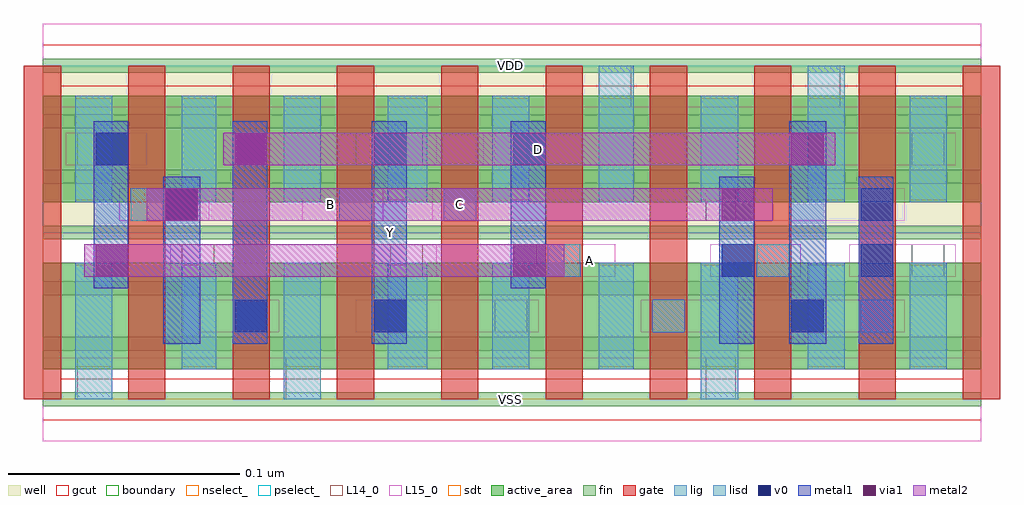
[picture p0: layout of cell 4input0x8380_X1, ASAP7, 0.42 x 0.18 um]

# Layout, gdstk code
import gdstk
lib = gdstk.Library(unit=1e-6, precision=1e-09)
def R(c, l, rs):  # rectangles x0, y0, x1, y1
    for r in rs: c.add(gdstk.rectangle(r[:2], r[2:], *l))
def A(c, l, x, y, w, h, nx, ny, dx, dy):  # array of equal rectangles
    R(c, l, [(x+i*dx, y+j*dy, x+i*dx+w, y+j*dy+h) for i in range(nx) for j in range(ny)])
def P(c, l, *ps):  # polygons
    for p in ps: c.add(gdstk.Polygon(p, *l))
well = (1, 0)
fin = (2, 0)
gate = (7, 0)
gcut = (10, 0)
active_area = (11, 0)
nselect_ = (12, 0)
pselect_ = (13, 0)
L14_0 = (14, 0)
L15_0 = (15, 0)
lig = (16, 0)
lisd = (17, 0)
v0 = (18, 0)
metal1 = (19, 0)
metal2 = (20, 0)
via1 = (21, 0)
sdt = (88, 0)
boundary = (100, 0)

c_4input0x8380_x1 = lib.new_cell('4input0x8380_X1')
R(c_4input0x8380_x1, well, [(0,0.072,0.405,0.144)])
A(c_4input0x8380_x1, fin, 0, -0.003, 0.405, 0.006, 1, 7, 0, 0.024)
A(c_4input0x8380_x1, gate, -0.008, 0, 0.016, 0.144, 10, 1, 0.045, 0)
P(c_4input0x8380_x1, gcut, [(0,-0.009),(0,0),(-0.008,0),(-0.008,0.135),(0.008,0.135),(0.008,0.009),(0.397,0.009),(0.397,0.135),(-0.008,0.135),(-0.008,0.144),(0,0.144),(0,0.153),(0.405,0.153),(0.405,0.144),(0.413,0.144),(0.413,0),(0.405,0),(0.405,-0.009)])
R(c_4input0x8380_x1, active_area, [(0,0.013,0.405,0.059), (0,0.085,0.405,0.131)])
R(c_4input0x8380_x1, nselect_, [(0,0,0.405,0.072)])
R(c_4input0x8380_x1, pselect_, [(0,0.072,0.405,0.144)])
R(c_4input0x8380_x1, L14_0, [(0.015,0,0.03,0.018), (0.105,0,0.12,0.018), (0.286,0,0.299,0.018), (0.083,0.029,0.097,0.043), (0.195,0.029,0.209,0.043), (0.263,0.029,0.277,0.043), (0.353,0.029,0.367,0.043), (0.06,0.053,0.074,0.067), (0.15,0.053,0.164,0.067), (0.218,0.053,0.232,0.067), (0.308,0.053,0.322,0.067), (0.375,0.053,0.389,0.067), (0.038,0.077,0.052,0.091), (0.128,0.077,0.142,0.091), (0.173,0.077,0.187,0.091), (0.286,0.077,0.299,0.091), (0.015,0.101,0.03,0.115), (0.15,0.101,0.164,0.115), (0.195,0.101,0.209,0.115), (0.375,0.101,0.389,0.115), (0.24,0.126,0.254,0.144), (0.33,0.126,0.344,0.144)])
R(c_4input0x8380_x1, L15_0, [(0,-0.018,0.405,0.018), (0.068,0.029,0.102,0.043), (0.135,0.029,0.214,0.043), (0.258,0.029,0.372,0.043), (0.055,0.053,0.17,0.067), (0.213,0.053,0.247,0.067), (0.288,0.053,0.327,0.067), (0.348,0.053,0.394,0.067), (0.033,0.077,0.072,0.091), (0.112,0.077,0.147,0.091), (0.168,0.077,0.372,0.091), (0.01,0.101,0.045,0.115), (0.135,0.101,0.17,0.115), (0.19,0.101,0.394,0.115), (0,0.126,0.405,0.162)])
R(c_4input0x8380_x1, lig, [(0.083,0.029,0.097,0.043), (0.263,0.029,0.277,0.043), (0.353,0.029,0.367,0.043), (0.218,0.053,0.232,0.067), (0.308,0.053,0.322,0.067), (0.038,0.077,0.052,0.091), (0.128,0.077,0.142,0.091), (0.173,0.077,0.187,0.091)])
A(c_4input0x8380_x1, lisd, 0.014, 0.085, 0.016, 0.046, 5, 1, 0.09, 0)
R(c_4input0x8380_x1, lisd, [(0.014,0,0.03,0.059), (0.104,0,0.12,0.059), (0.284,0,0.3,0.059), (0.06,0.013,0.075,0.059), (0.149,0.013,0.166,0.059), (0.194,0.013,0.21,0.059), (0.24,0.013,0.255,0.059), (0.33,0.013,0.346,0.059), (0.374,0.013,0.39,0.059), (0.06,0.085,0.075,0.131), (0.149,0.085,0.166,0.131), (0.24,0.085,0.255,0.144), (0.33,0.085,0.346,0.144)])
R(c_4input0x8380_x1, v0, [(0.083,0.029,0.097,0.043), (0.143,0.029,0.157,0.043), (0.323,0.029,0.337,0.043), (0.293,0.053,0.307,0.067), (0.353,0.053,0.367,0.067), (0.053,0.077,0.067,0.091), (0.353,0.077,0.367,0.091), (0.023,0.101,0.037,0.115), (0.143,0.101,0.157,0.115), (0.203,0.101,0.217,0.115)])
R(c_4input0x8380_x1, metal1, [(0.052,0.024,0.068,0.096), (0.082,0.024,0.097,0.12), (0.142,0.024,0.157,0.12), (0.292,0.024,0.307,0.096), (0.322,0.024,0.338,0.12), (0.352,0.024,0.367,0.096), (0.022,0.048,0.037,0.12), (0.202,0.048,0.217,0.12)])
R(c_4input0x8380_x1, metal2, [(0.018,0.053,0.225,0.067), (0.045,0.077,0.315,0.091), (0.078,0.101,0.342,0.115)])
R(c_4input0x8380_x1, via1, [(0.023,0.053,0.037,0.067), (0.203,0.053,0.217,0.067), (0.053,0.077,0.067,0.091), (0.293,0.077,0.307,0.091), (0.083,0.101,0.097,0.115), (0.323,0.101,0.337,0.115)])
A(c_4input0x8380_x1, sdt, 0.014, 0.014, 0.016, 0.044, 4, 2, 0.09, 0.072)
R(c_4input0x8380_x1, sdt, [(0.06,0.014,0.075,0.058), (0.149,0.014,0.166,0.058), (0.24,0.014,0.255,0.058), (0.33,0.014,0.346,0.058), (0.374,0.014,0.39,0.058), (0.06,0.086,0.075,0.13), (0.149,0.086,0.166,0.13), (0.24,0.086,0.255,0.13), (0.33,0.086,0.346,0.13), (0.374,0.086,0.39,0.13)])
R(c_4input0x8380_x1, boundary, [(0,0,0.405,0.144)])
c_4input0x8380_x1.add(gdstk.Label('B', (0.124,0.084), layer=15, texttype=251))
c_4input0x8380_x1.add(gdstk.Label('VSS', (0.202,0), layer=15, texttype=251))
c_4input0x8380_x1.add(gdstk.Label('VDD', (0.202,0.144), layer=15, texttype=251))
c_4input0x8380_x1.add(gdstk.Label('VSS', (0.202,0), layer=15, texttype=251))
c_4input0x8380_x1.add(gdstk.Label('VDD', (0.202,0.144), layer=15, texttype=251))
c_4input0x8380_x1.add(gdstk.Label('VSS', (0.202,0), layer=15, texttype=251))
c_4input0x8380_x1.add(gdstk.Label('VDD', (0.202,0.144), layer=15, texttype=251))
c_4input0x8380_x1.add(gdstk.Label('A', (0.236,0.06), layer=15, texttype=251))
c_4input0x8380_x1.add(gdstk.Label('VSS', (0.202,0), layer=15, texttype=251))
c_4input0x8380_x1.add(gdstk.Label('VDD', (0.202,0.144), layer=15, texttype=251))
c_4input0x8380_x1.add(gdstk.Label('VSS', (0.202,0), layer=15, texttype=251))
c_4input0x8380_x1.add(gdstk.Label('VDD', (0.202,0.144), layer=15, texttype=251))
c_4input0x8380_x1.add(gdstk.Label('VSS', (0.202,0), layer=3, texttype=251))
c_4input0x8380_x1.add(gdstk.Label('VSS', (0.202,0), layer=3, texttype=251))
c_4input0x8380_x1.add(gdstk.Label('VSS', (0.202,0), layer=3, texttype=251))
c_4input0x8380_x1.add(gdstk.Label('VSS', (0.202,0), layer=3, texttype=251))
c_4input0x8380_x1.add(gdstk.Label('VSS', (0.202,0), layer=3, texttype=251))
c_4input0x8380_x1.add(gdstk.Label('VDD', (0.202,0.144), layer=1, texttype=251))
c_4input0x8380_x1.add(gdstk.Label('VDD', (0.202,0.144), layer=1, texttype=251))
c_4input0x8380_x1.add(gdstk.Label('VDD', (0.202,0.144), layer=1, texttype=251))
c_4input0x8380_x1.add(gdstk.Label('VDD', (0.202,0.144), layer=1, texttype=251))
c_4input0x8380_x1.add(gdstk.Label('VDD', (0.202,0.144), layer=1, texttype=251))
c_4input0x8380_x1.add(gdstk.Label('C', (0.18,0.084), layer=20, texttype=251))
c_4input0x8380_x1.add(gdstk.Label('D', (0.214,0.108), layer=20, texttype=251))
c_4input0x8380_x1.add(gdstk.Label('Y', (0.15,0.072), layer=19, texttype=251))

lib.write_gds('4input0x8380_X1.gds')
